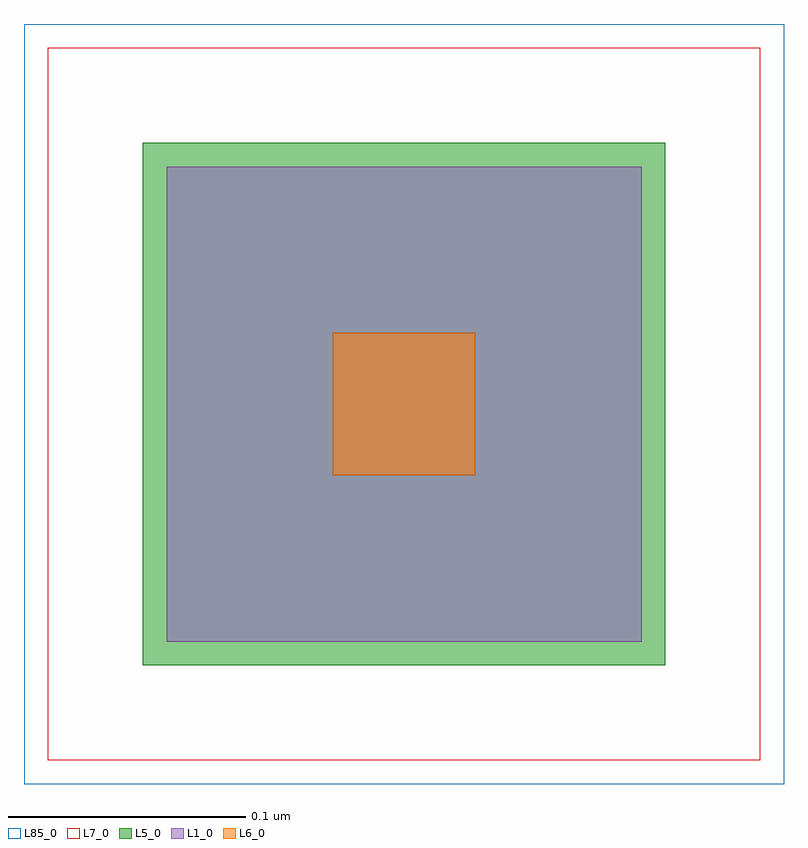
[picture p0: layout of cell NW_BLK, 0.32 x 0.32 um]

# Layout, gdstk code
import gdstk
lib = gdstk.Library(unit=1e-6, precision=5e-10)
def R(c, l, rs):  # rectangles x0, y0, x1, y1
    for r in rs: c.add(gdstk.rectangle(r[:2], r[2:], *l))
L1_0 = (1, 0)
L5_0 = (5, 0)
L6_0 = (6, 0)
L7_0 = (7, 0)
L85_0 = (85, 0)

nw_blk = lib.new_cell('NW_BLK')
R(nw_blk, L1_0, [(-0.075,-0.095,0.125,0.105)])
R(nw_blk, L5_0, [(-0.085,-0.105,0.135,0.115)])
R(nw_blk, L6_0, [(-0.005,-0.025,0.055,0.035)])
R(nw_blk, L7_0, [(-0.125,-0.145,0.175,0.155), (-0.005,-0.025,0.055,0.035)])
R(nw_blk, L85_0, [(-0.135,-0.155,0.185,0.165)])

lib.write_gds('NW_BLK.gds')
